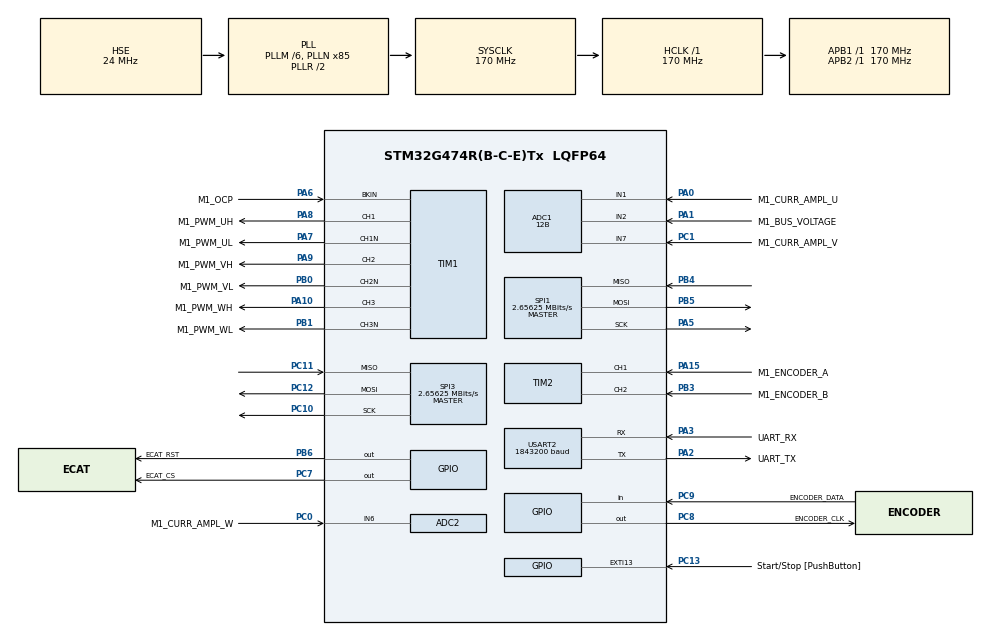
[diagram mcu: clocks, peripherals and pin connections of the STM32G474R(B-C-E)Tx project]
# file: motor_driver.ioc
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ADC1.Channel-1\#ChannelRegularConversion=ADC_CHANNEL_2
ADC1.ClockPrescaler=ADC_CLOCK_ASYNC_DIV1
ADC1.ContinuousConvMode=DISABLE
ADC1.DMAContinuousRequests=DISABLE
ADC1.DataAlign=ADC_DATAALIGN_LEFT
ADC1.DiscontinuousConvMode=DISABLE
ADC1.EOCSelection=ADC_EOC_SINGLE_CONV
ADC1.EnableAnalogWatchDog1=false
ADC1.EnableAnalogWatchDog2=false
ADC1.EnableAnalogWatchDog3=false
ADC1.EnableInjectedConversion=ENABLE
ADC1.EnableRegularConversion=ENABLE
ADC1.ExternalTrigConv=ADC_SOFTWARE_START
ADC1.ExternalTrigConvEdge=ADC_EXTERNALTRIGCONVEDGE_NONE
ADC1.ExternalTrigInjecConv=ADC_EXTERNALTRIGINJEC_T1_TRGO
ADC1.ExternalTrigInjecConvEdge=ADC_EXTERNALTRIGINJECCONV_EDGE_RISING
ADC1.InjNumberOfConversion=2
ADC1.InjectedChannel-1\#ChannelInjectedConversion=ADC_CHANNEL_1
ADC1.InjectedChannel-2\#ChannelInjectedConversion=ADC_CHANNEL_7
ADC1.InjectedConvMode=None
ADC1.InjectedOffset-1\#ChannelInjectedConversion=0
ADC1.InjectedOffset-2\#ChannelInjectedConversion=0
ADC1.InjectedOffsetNumber-1\#ChannelInjectedConversion=ADC_OFFSET_NONE
ADC1.InjectedOffsetNumber-2\#ChannelInjectedConversion=ADC_OFFSET_NONE
ADC1.InjectedRank-1\#ChannelInjectedConversion=1
ADC1.InjectedRank-2\#ChannelInjectedConversion=2
ADC1.InjectedSamplingTime-1\#ChannelInjectedConversion=ADC_SAMPLETIME_6CYCLES_5
ADC1.InjectedSamplingTime-2\#ChannelInjectedConversion=ADC_SAMPLETIME_6CYCLES_5
ADC1.LowPowerAutoWait=DISABLE
ADC1.NbrOfConversion=1
ADC1.NbrOfConversionFlag=1
ADC1.Offset-1\#ChannelRegularConversion=0
ADC1.OffsetNumber-1\#ChannelRegularConversion=ADC_OFFSET_NONE
ADC1.Overrun=ADC_OVR_DATA_PRESERVED
ADC1.Rank-1\#ChannelRegularConversion=1
ADC1.Resolution=ADC_RESOLUTION_12B
ADC1.SamplingTime-1\#ChannelRegularConversion=ADC_SAMPLETIME_47CYCLES_5
ADC1.ScanConvMode=ADC_SCAN_ENABLE
ADC1.master=1
ADC2.ClockPrescaler=ADC_CLOCK_ASYNC_DIV1
ADC2.ContinuousConvMode=DISABLE
ADC2.DMAContinuousRequests=DISABLE
ADC2.DataAlign=ADC_DATAALIGN_LEFT
ADC2.DiscontinuousConvMode=DISABLE
ADC2.EOCSelection=ADC_EOC_SINGLE_CONV
ADC2.EnableAnalogWatchDog1=false
ADC2.EnableAnalogWatchDog2=false
ADC2.EnableAnalogWatchDog3=false
ADC2.EnableInjectedConversion=ENABLE
ADC2.EnableRegularConversion=DISABLE
ADC2.ExternalTrigInjecConv=ADC_EXTERNALTRIGINJEC_T1_TRGO
ADC2.ExternalTrigInjecConvEdge=ADC_EXTERNALTRIGINJECCONV_EDGE_RISING
ADC2.InjNumberOfConversion=2
ADC2.InjectedChannel-1\#ChannelInjectedConversion=ADC_CHANNEL_7
ADC2.InjectedChannel-2\#ChannelInjectedConversion=ADC_CHANNEL_6
ADC2.InjectedConvMode=None
ADC2.InjectedOffset-1\#ChannelInjectedConversion=0
ADC2.InjectedOffset-2\#ChannelInjectedConversion=0
ADC2.InjectedOffsetNumber-1\#ChannelInjectedConversion=ADC_OFFSET_NONE
ADC2.InjectedOffsetNumber-2\#ChannelInjectedConversion=ADC_OFFSET_NONE
ADC2.InjectedRank-1\#ChannelInjectedConversion=1
ADC2.InjectedRank-2\#ChannelInjectedConversion=2
ADC2.InjectedSamplingTime-1\#ChannelInjectedConversion=ADC_SAMPLETIME_6CYCLES_5
ADC2.InjectedSamplingTime-2\#ChannelInjectedConversion=ADC_SAMPLETIME_6CYCLES_5
ADC2.LowPowerAutoWait=DISABLE
ADC2.Overrun=ADC_OVR_DATA_PRESERVED
ADC2.Resolution=ADC_RESOLUTION_12B
ADC2.ScanConvMode=ADC_SCAN_ENABLE
ADC2.master=1
Dma.Request0=USART2_RX
Dma.Request1=USART2_TX
Dma.Request2=SPI1_RX
Dma.Request3=SPI1_TX
Dma.USART2_RX.0.Direction=DMA_PERIPH_TO_MEMORY
Dma.USART2_RX.0.EventEnable=DISABLE
Dma.USART2_RX.0.Instance=DMA1_Channel1
Dma.USART2_RX.0.MemDataAlignment=DMA_MDATAALIGN_BYTE
Dma.USART2_RX.0.MemInc=DMA_MINC_ENABLE
Dma.USART2_RX.0.Mode=DMA_NORMAL
Dma.USART2_RX.0.PeriphDataAlignment=DMA_PDATAALIGN_BYTE
Dma.USART2_RX.0.PeriphInc=DMA_PINC_DISABLE
Dma.USART2_RX.0.Polarity=HAL_DMAMUX_REQ_GEN_RISING
Dma.USART2_RX.0.Priority=DMA_PRIORITY_LOW
Dma.USART2_RX.0.RequestNumber=1
Dma.USART2_RX.0.SignalID=NONE
Dma.USART2_RX.0.SyncEnable=DISABLE
Dma.USART2_RX.0.SyncPolarity=HAL_DMAMUX_SYNC_NO_EVENT
Dma.USART2_RX.0.SyncRequestNumber=1
Dma.USART2_RX.0.SyncSignalID=NONE
Dma.USART2_TX.1.Direction=DMA_MEMORY_TO_PERIPH
Dma.USART2_TX.1.EventEnable=DISABLE
Dma.USART2_TX.1.Instance=DMA1_Channel2
Dma.USART2_TX.1.MemDataAlignment=DMA_MDATAALIGN_BYTE
Dma.USART2_TX.1.MemInc=DMA_MINC_ENABLE
Dma.USART2_TX.1.Mode=DMA_NORMAL
Dma.USART2_TX.1.PeriphDataAlignment=DMA_PDATAALIGN_BYTE
Dma.USART2_TX.1.PeriphInc=DMA_PINC_DISABLE
Dma.USART2_TX.1.Polarity=HAL_DMAMUX_REQ_GEN_RISING
Dma.USART2_TX.1.Priority=DMA_PRIORITY_LOW
Dma.USART2_TX.1.RequestNumber=1
Dma.USART2_TX.1.SignalID=NONE
Dma.USART2_TX.1.SyncEnable=DISABLE
Dma.USART2_TX.1.SyncPolarity=HAL_DMAMUX_SYNC_NO_EVENT
Dma.USART2_TX.1.SyncRequestNumber=1
Dma.USART2_TX.1.SyncSignalID=NONE
Dma.SPI1_RX.2.Direction=DMA_PERIPH_TO_MEMORY
Dma.SPI1_RX.2.EventEnable=DISABLE
Dma.SPI1_RX.2.Instance=DMA1_Channel3
Dma.SPI1_RX.2.MemDataAlignment=DMA_MDATAALIGN_BYTE
Dma.SPI1_RX.2.MemInc=DMA_MINC_ENABLE
Dma.SPI1_RX.2.Mode=DMA_NORMAL
Dma.SPI1_RX.2.PeriphDataAlignment=DMA_PDATAALIGN_BYTE
Dma.SPI1_RX.2.PeriphInc=DMA_PINC_DISABLE
Dma.SPI1_RX.2.Polarity=HAL_DMAMUX_REQ_GEN_RISING
Dma.SPI1_RX.2.Priority=DMA_PRIORITY_LOW
Dma.SPI1_RX.2.RequestNumber=1
Dma.SPI1_RX.2.SignalID=NONE
Dma.SPI1_RX.2.SyncEnable=DISABLE
Dma.SPI1_RX.2.SyncPolarity=HAL_DMAMUX_SYNC_NO_EVENT
Dma.SPI1_RX.2.SyncRequestNumber=1
Dma.SPI1_RX.2.SyncSignalID=NONE
Dma.SPI1_TX.3.Direction=DMA_MEMORY_TO_PERIPH
Dma.SPI1_TX.3.EventEnable=DISABLE
Dma.SPI1_TX.3.Instance=DMA1_Channel4
Dma.SPI1_TX.3.MemDataAlignment=DMA_MDATAALIGN_BYTE
Dma.SPI1_TX.3.MemInc=DMA_MINC_ENABLE
Dma.SPI1_TX.3.Mode=DMA_NORMAL
Dma.SPI1_TX.3.PeriphDataAlignment=DMA_PDATAALIGN_BYTE
Dma.SPI1_TX.3.PeriphInc=DMA_PINC_DISABLE
Dma.SPI1_TX.3.Polarity=HAL_DMAMUX_REQ_GEN_RISING
Dma.SPI1_TX.3.Priority=DMA_PRIORITY_LOW
Dma.SPI1_TX.3.RequestNumber=1
Dma.SPI1_TX.3.SignalID=NONE
Dma.SPI1_TX.3.SyncEnable=DISABLE
Dma.SPI1_TX.3.SyncPolarity=HAL_DMAMUX_SYNC_NO_EVENT
Dma.SPI1_TX.3.SyncRequestNumber=1
Dma.SPI1_TX.3.SyncSignalID=NONE
ExtraMW=MotorControl
ExtraMW.MotorControl.Config=MotorControl
ExtraMW.MotorControl.Mode=MotorControl
ExtraMW.MotorControl.Root=MCSDK_v6.4.2-Full/MotorControl
ExtraMW.MotorControl.Template=templates
Mcu.Family=STM32G4
Mcu.Name=STM32G474R(B-C-E)Tx
Mcu.Package=LQFP64
MotorControl.ADC_1_PERIPH=ADC1
MotorControl.ADC_2_PERIPH=ADC2
MotorControl.ADC_AHBPERIPH=RCC_AHBPeriph_ADC12
MotorControl.ADC_CLOCK_WB_DIV=1
MotorControl.ADC_PERIPH=ADC1
MotorControl.ADC_REFERENCE_VOLTAGE=3.3
MotorControl.BOARD=NUCLEO-G474RE
MotorControl.BUS_VOLTAGE_READING=true
MotorControl.CCMRAM_ENABLED=false
MotorControl.CLOCK_FREQUENCY=CPU_CLK_170_MHZ
MotorControl.CLOCK_SOURCE=EXTERNAL
MotorControl.CPU_CLK_170_MHZ=true
MotorControl.CTLBOARD_NAME=NUCLEO-G474RE
MotorControl.CUBE_MX_VER=6.16.0
MotorControl.CURRENT_READING_TOPOLOGY=THREE_SHUNT_INDEPENDENT_RESOURCES
MotorControl.CURR_SAMPLING_TIME=6
MotorControl.DBG_MCU_LOAD_MEASURE=false
MotorControl.DEBUG_DAC_FUNCTIONALITY_EN=false
MotorControl.DRIVES_NUMBER_SELECTION=SINGLEDRIVE
MotorControl.DRIVE_NUMBER=1
MotorControl.DRIVE_TYPE=FOC
MotorControl.EMERGENCY_STOP_GPIO_PIN=LL_GPIO_PIN_6
MotorControl.EMERGENCY_STOP_GPIO_PORT=GPIOA
MotorControl.ENCODER=true
MotorControl.ENCODER_AVAILABLE=true
MotorControl.ENCODER_PPR=1024
MotorControl.ENC_A_GPIO_PIN=LL_GPIO_PIN_15
MotorControl.ENC_A_GPIO_PORT=GPIOA
MotorControl.ENC_B_GPIO_PIN=LL_GPIO_PIN_3
MotorControl.ENC_B_GPIO_PORT=GPIOB
MotorControl.ENC_ICx_FILTER=128
MotorControl.ENC_INVERT_SPEED=false
MotorControl.ENC_TIMER_SELECTION=ENC_TIM2
MotorControl.ENC_USE_CH3=false
MotorControl.EXT_CLK_24_MHZ=true
MotorControl.EXT_CLOCK_FREQUENCY=EXT_CLK_24_MHZ
MotorControl.FEEDBACK_NET_FILTERING=false
MotorControl.FLASH_SIZE=512
MotorControl.HALL_SENSORS_AVAILABLE=true
MotorControl.HIGH_SIDE_IDLE_STATE=false
MotorControl.HWV_CS=ThreeShunt_AmplifiedCurrents
MotorControl.HWV_OCP=OnPowerStageOCP
MotorControl.HWV_PWM=DrivingHighAndLowSides
MotorControl.HW_COMPLEMENTED_LOW_SIDE=false
MotorControl.HW_DEAD_TIME_NS=1000
MotorControl.IPs=CORDIC,NVIC,RCC,SYS,MotorControl,TIM1,ADC1,ADC2,TIM2,USART2,DMA
MotorControl.LOW_MEMORY_FOOTPRINT_REG=false
MotorControl.LOW_SIDE_IDLE_STATE=false
MotorControl.LOW_SIDE_SIGNALS_ENABLING=LS_PWM_TIMER
MotorControl.M1_ALIGNMENT_ANGLE_DEG=90
MotorControl.M1_ALIGNMENT_DURATION=700
MotorControl.M1_AMPLIFICATION_GAIN=5.18
MotorControl.M1_ANGC={0,0,0,0,0,0,0,0}
MotorControl.M1_AUXILIARY_SPEED_SENSOR=NONE
MotorControl.M1_BOARD_MAX_CURRENT=4
MotorControl.M1_BUS_VOLTAGE_READING=true
MotorControl.M1_COMMUTATION_STEP_TIME_BUF_SIZE=12
MotorControl.M1_CONSTANT1_D=932784
MotorControl.M1_CONSTANT1_Q=932784
MotorControl.M1_CONSTANT2_QD=19475
MotorControl.M1_CS_ADC_NUM=2
MotorControl.M1_CS_ADC_PHASE_SHARED=V
MotorControl.M1_CS_ADC_U=ADC1
MotorControl.M1_CS_ADC_W=ADC2
MotorControl.M1_CS_CHANNEL_SHARED=7
MotorControl.M1_CS_CHANNEL_U=1
MotorControl.M1_CS_CHANNEL_V=7
MotorControl.M1_CS_CHANNEL_W=6
MotorControl.M1_CURRENT_AMPLIFICATION_TOPO=EXTERNAL
MotorControl.M1_CURRENT_SENSING_TOPO=THREE_SHUNT
MotorControl.M1_CURR_SAMPLING_TIME=6
MotorControl.M1_DBG_OPEN_LOOP_ENABLE=false
MotorControl.M1_DC_CURRENT_RS_MEAS=4
MotorControl.M1_DEFAULT_CONTROL_MODE=STC_SPEED_MODE
MotorControl.M1_DEFAULT_FLUX_COMPONENT=0
MotorControl.M1_DEFAULT_TARGET_SPEED_RPM=1440
MotorControl.M1_DEFAULT_TORQUE_COMPONENT=0
MotorControl.M1_DISCONTINUOUS_PWM=false
MotorControl.M1_DP_TOPOLOGY=NONE
MotorControl.M1_DRIVE_TYPE=FOC
MotorControl.M1_ENCODER_PPR=1024
MotorControl.M1_ENC_AVERAGING_FIFO_DEPTH=16
MotorControl.M1_ENC_A_GPIO_PIN=LL_GPIO_PIN_15
MotorControl.M1_ENC_A_GPIO_PORT=GPIOA
MotorControl.M1_ENC_B_GPIO_PIN=LL_GPIO_PIN_3
MotorControl.M1_ENC_B_GPIO_PORT=GPIOB
MotorControl.M1_ENC_ICx_FILTER=128
MotorControl.M1_ENC_TIMER_IRQ=TIM2
MotorControl.M1_ENC_TIMER_SELECTION=ENC_TIM2
MotorControl.M1_ENC_USE_CH3=false
MotorControl.M1_FEED_FORWARD_CURRENT_REG_ENABLING=false
MotorControl.M1_FINAL_I_ALIGNMENT=4
MotorControl.M1_FLUX_WEAKENING_ENABLING=false
MotorControl.M1_FW_KIDIV=32768
MotorControl.M1_FW_KI_GAIN=5000
MotorControl.M1_FW_KPDIV=32768
MotorControl.M1_FW_KP_GAIN=3000
MotorControl.M1_FW_VOLTAGE_REF=985
MotorControl.M1_HALL_PHASE_SHIFT=300
MotorControl.M1_HALL_SENSORS_PLACEMENT=DEGREES_120
MotorControl.M1_HIGH_SIDE_IDLE_STATE=false
MotorControl.M1_HW_DEAD_TIME_NS=1000
MotorControl.M1_ICL_ENABLED=false
MotorControl.M1_ID_DEMAG=-4
MotorControl.M1_IQMAX=4
MotorControl.M1_LDLQ_RATIO=1.000
MotorControl.M1_LOW_SIDE_IDLE_STATE=false
MotorControl.M1_LOW_SIDE_SIGNALS_ENABLING=LS_PWM_TIMER
MotorControl.M1_LS=0.0009
MotorControl.M1_MAX_APPLICATION_SPEED=4500
MotorControl.M1_MAX_MODULATION_INDEX=100
MotorControl.M1_MIN_APPLICATION_SPEED=0
MotorControl.M1_MOTOR_MAX_SPEED_RPM=4500
MotorControl.M1_MOTOR_NAME=MAXON EC-I 100W
MotorControl.M1_MOTOR_RATED_FLUX=0.030079734
MotorControl.M1_MOTOR_VOLTAGE_CONSTANT=6.1
MotorControl.M1_MTPA_ENABLING=false
MotorControl.M1_NOMINAL_BUS_VOLTAGE_V=24
MotorControl.M1_NOMINAL_CURRENT=4
MotorControl.M1_OCP_BKIN_FILTER=4
MotorControl.M1_OCP_BKIN_MODE=EXT_MODE
MotorControl.M1_OCP_BKIN_POLARITY=EMSTOP_ACTIVE_LOW
MotorControl.M1_OCP_DESTINATION=TIM_BKIN
MotorControl.M1_OCP_TOPOLOGY=EXTERNAL
MotorControl.M1_OFST={0,0,0,0,0,0,0,0}
MotorControl.M1_ON_OVER_VOLTAGE=TURN_OFF_PWM
MotorControl.M1_OVERMODULATION=false
MotorControl.M1_OVP_THRESHOLD_HIGH=28.8
MotorControl.M1_OV_VOLTAGE_PROT_ENABLING=true
MotorControl.M1_OV_VOLTAGE_THRESHOLD_V=28.8
MotorControl.M1_PID_FLUX_KD_DEFAULT=100
MotorControl.M1_PID_FLUX_KI_DEFAULT=3065
MotorControl.M1_PID_FLUX_KP_DEFAULT=3669
MotorControl.M1_PID_SPEED_KD_DEFAULT=0
MotorControl.M1_PID_SPEED_KI_DEFAULT=867
MotorControl.M1_PID_SPEED_KP_DEFAULT=2420
MotorControl.M1_PID_TORQUE_KD_DEFAULT=100
MotorControl.M1_PID_TORQUE_KI_DEFAULT=3065
MotorControl.M1_PID_TORQUE_KP_DEFAULT=3669
MotorControl.M1_POLE_PAIR_NUM=10
MotorControl.M1_POSITION_CTRL_ENABLING=false
MotorControl.M1_POTENTIOMETER_ENABLE=false
MotorControl.M1_POWERBOARD_NAME=X-NUCLEO-IHM08M1
MotorControl.M1_PWM_CHARGE_BOOT_CAP_DUTY_CYCLES=0.000
MotorControl.M1_PWM_CHARGE_BOOT_CAP_MS=10
MotorControl.M1_PWM_DRIVER_PN=L6398
MotorControl.M1_PWM_FREQUENCY=20000
MotorControl.M1_PWM_TIMER_BRK_IRQ=TIM1_BRK_TIM15
MotorControl.M1_PWM_TIMER_SELECTION=PWM_TIM1
MotorControl.M1_PWM_TIMER_UP_IRQ=TIM1_UP_TIM16
MotorControl.M1_REGULATION_EXECUTION_RATE=1
MotorControl.M1_RS=0.47
MotorControl.M1_RSHUNT=0.01
MotorControl.M1_SEGDIV=0
MotorControl.M1_SHARED_SIGNAL_ENABLE=false
MotorControl.M1_SPD_DIFFERENTIAL_TERM_ENABLING=false
MotorControl.M1_SPEED_LOOP_FREQUENCY_HZ=1000
MotorControl.M1_SPEED_SENSOR=QUAD_ENCODER
MotorControl.M1_SP_KDDIV=16
MotorControl.M1_SP_KIDIV=16384
MotorControl.M1_SP_KPDIV=128
MotorControl.M1_SS_MEAS_ERRORS_BEFORE_FAULTS=3
MotorControl.M1_SW_DEADTIME_NS=850
MotorControl.M1_TEMPERATURE_READING=false
MotorControl.M1_TF_KDDIV=8192
MotorControl.M1_TF_KIDIV=8192
MotorControl.M1_TF_KPDIV=256
MotorControl.M1_TNOISE_NS=1000
MotorControl.M1_TRISE_NS=1000
MotorControl.M1_UD_VOLTAGE_THRESHOLD_V=10.0
MotorControl.M1_USE_INTERNAL_OPAMP=false
MotorControl.M1_UV_VOLTAGE_PROT_ENABLING=true
MotorControl.M1_VBUS_ADC=ADC1
MotorControl.M1_VBUS_ADC_SAMPLING_TIME=47
MotorControl.M1_VBUS_CHANNEL=ADC_CHANNEL_2
MotorControl.M1_VBUS_PARTITIONING_FACTOR=0.052164840897235255
MotorControl.MAX_READABLE_CURRENT=31.845
MotorControl.MCPA_OVER_UART_A_STREAM=10
MotorControl.MCP_ASPEP_OVER_UART=true
MotorControl.MCP_ASYNC_EN=true
MotorControl.MCP_ASYNC_OVER_ASPEP_EN=true
MotorControl.MCP_ASYNC_OVER_UART_A_EN=true
MotorControl.MCP_DMACH_RX_UART_A=1
MotorControl.MCP_DMACH_TX_UART_A=2
MotorControl.MCP_DMA_RX_UART_A=DMA1
MotorControl.MCP_DMA_TX_UART_A=DMA1
MotorControl.MCP_EN=true
MotorControl.MCP_IRQ_HANDLER_DMA_RX_UART_A=DMA1_Channel1_IRQHandler
MotorControl.MCP_IRQ_HANDLER_UART_A=USART2_IRQHandler
MotorControl.MCP_OVER_ASPEP_EN=true
MotorControl.MCP_OVER_STLNK_EN=false
MotorControl.MCP_OVER_UART_A_EN=true
MotorControl.MCP_OVER_UART_B_EN=false
MotorControl.MCP_RX_SYNC_PAYLOAD_MAX=256
MotorControl.MCP_TX_ASYNC_PAYLOAD_MAX_UART_A=2048
MotorControl.MCP_TX_SYNC_PAYLOAD_MAX=256
MotorControl.MCU=STM32G474RE
MotorControl.MCU_FAMILY=STM32G4
MotorControl.MCU_LINE=STM32G4x4
MotorControl.MCU_NAME=STM32G474R(B-C-E)Tx
MotorControl.MCU_PACKAGE=LQFP64
MotorControl.MCU_TYPE=STM32G474RE
MotorControl.MCU_USERNAME=STM32G474RETx
MotorControl.MC_WORKBENCH_VERSION=6.4.2
MotorControl.MOTOR_PROFILER=false
MotorControl.MOTOR_TYPE=PMSM
MotorControl.ON_OVER_VOLTAGE=TURN_OFF_PWM
MotorControl.OV_VOLTAGE_PROT_ENABLING=true
MotorControl.PHASE_UH_GPIO_PIN=LL_GPIO_PIN_8
MotorControl.PHASE_UH_GPIO_PORT=GPIOA
MotorControl.PHASE_UH_POLARITY=H_ACTIVE_HIGH
MotorControl.PHASE_UL_GPIO_PIN=LL_GPIO_PIN_7
MotorControl.PHASE_UL_GPIO_PORT=GPIOA
MotorControl.PHASE_UL_POLARITY=L_ACTIVE_LOW
MotorControl.PHASE_U_CURR_ADC=ADC1
MotorControl.PHASE_U_CURR_CHANNEL=ADC_CHANNEL_1
MotorControl.PHASE_U_GPIO_PIN=LL_GPIO_PIN_0
MotorControl.PHASE_U_GPIO_PORT=GPIOA
MotorControl.PHASE_U_PWM_CHANNEL=TIM_Channel_1
MotorControl.PHASE_VH_GPIO_PIN=LL_GPIO_PIN_9
MotorControl.PHASE_VH_GPIO_PORT=GPIOA
MotorControl.PHASE_VH_POLARITY=H_ACTIVE_HIGH
MotorControl.PHASE_VL_GPIO_PIN=LL_GPIO_PIN_0
MotorControl.PHASE_VL_GPIO_PORT=GPIOB
MotorControl.PHASE_VL_POLARITY=L_ACTIVE_LOW
MotorControl.PHASE_V_CURR_ADC=ADC1
MotorControl.PHASE_V_CURR_CHANNEL=ADC_CHANNEL_7
MotorControl.PHASE_V_GPIO_PIN=LL_GPIO_PIN_1
MotorControl.PHASE_V_GPIO_PORT=GPIOC
MotorControl.PHASE_V_PWM_CHANNEL=TIM_Channel_2
MotorControl.PHASE_V_S_CURR_ADC=ADC2
MotorControl.PHASE_V_S_CURR_CHANNEL=ADC_CHANNEL_7
MotorControl.PHASE_V_S_GPIO_PIN=LL_GPIO_PIN_1
MotorControl.PHASE_V_S_GPIO_PORT=GPIOC
MotorControl.PHASE_WH_GPIO_PIN=LL_GPIO_PIN_10
MotorControl.PHASE_WH_GPIO_PORT=GPIOA
MotorControl.PHASE_WH_POLARITY=H_ACTIVE_HIGH
MotorControl.PHASE_WL_GPIO_PIN=LL_GPIO_PIN_1
MotorControl.PHASE_WL_GPIO_PORT=GPIOB
MotorControl.PHASE_WL_POLARITY=L_ACTIVE_LOW
MotorControl.PHASE_W_CURR_ADC=ADC2
MotorControl.PHASE_W_CURR_CHANNEL=ADC_CHANNEL_6
MotorControl.PHASE_W_GPIO_PIN=LL_GPIO_PIN_0
MotorControl.PHASE_W_GPIO_PORT=GPIOC
MotorControl.PHASE_W_PWM_CHANNEL=TIM_Channel_3
MotorControl.POTENTIOMETER_READING=false
MotorControl.PWM_FREQUENCY=20000
MotorControl.PWM_TIMER_SELECTION=PWM_TIM1
MotorControl.REGULATION_EXECUTION_RATE=1
MotorControl.RTOS=NONE
MotorControl.R_BRAKE_SWITCH_OFF_THRES_V=23
MotorControl.SINGLEDRIVE=true
MotorControl.SPD_DIFFERENTIAL_TERM_ENABLING=false
MotorControl.SPEED_SENSOR_SELECTION=ENCODER
MotorControl.START_STOP_BTN=true
MotorControl.START_STOP_GPIO_IRQ=EXTI15_10
MotorControl.START_STOP_GPIO_PIN=LL_GPIO_PIN_13
MotorControl.START_STOP_GPIO_PORT=GPIOC
MotorControl.START_STOP_POLARITY=DIN_ACTIVE_LOW
MotorControl.START_STOP_POLARITY_EDGE=GPIO_NOPULL
MotorControl.STM32G474RE=true
MotorControl.SW_DEADTIME_NS=850
MotorControl.TEMPERATURE_READING=false
MotorControl.TFDIFFERENTIAL_TERM_ENABLING=false
MotorControl.THREE_SHUNT_INDEPENDENT_RESOURCES=true
MotorControl.TRISE_NS=1000
MotorControl.USART_RX_GPIO_PIN=LL_GPIO_PIN_3
MotorControl.USART_RX_GPIO_PORT=GPIOA
MotorControl.USART_SELECTION=USE_USART2
MotorControl.USART_SELECTION_A=USART2
MotorControl.USART_SPEED=1843200
MotorControl.USART_TX_GPIO_PIN=LL_GPIO_PIN_2
MotorControl.USART_TX_GPIO_PORT=GPIOA
MotorControl.USE_3OPAMPS=false
MotorControl.USE_INTERNAL_OPAMP=false
MotorControl.UV_VOLTAGE_PROT_ENABLING=true
MotorControl.VBUS_ADC=ADC1
MotorControl.VBUS_ADC_SAMPLING_TIME=47
MotorControl.VBUS_CHANNEL=ADC_CHANNEL_2
MotorControl.VBUS_GPIO_PIN=LL_GPIO_PIN_1
MotorControl.VBUS_GPIO_PORT=GPIOA
MotorControl.WB_MX_HEAPSIZE=0x200
MotorControl.WB_MX_STACKSIZE=0x400
MotorControl.WB_MX_TRUSTZONE_AVAILABLE=false
MotorControl.WB_UI_CUTOFF_FREQUENCY=6000
MotorControl.WB_UI_ENCODER_HAS_INDEX_PIN=true
MotorControl.WB_UI_FLUX_TARGET=0
MotorControl.WB_UI_FRICTION=14
MotorControl.WB_UI_INERTIA=5
MotorControl.WB_UI_MAGNETIC_STRUCTURE=SM-PMSM
MotorControl.WB_UI_MAX_CURRENT=4
MotorControl.WB_UI_MAX_NOMINAL_DC_VOLTAGE=48
MotorControl.WB_UI_MAX_PWMFREQUENCY=100000
MotorControl.WB_UI_MOTOR_DESCRIPTION=brushless DC motor with encoder and Z Index
MotorControl.WB_UI_OCP_DISABLING_ENABLE=false
MotorControl.WB_UI_OCP_THRESHOLD=30
MotorControl.WB_UI_PW_BOARD_MAX_RATED_CURRENT=30
MotorControl.WB_UI_PW_BOARD_MAX_VOLTAGE=48
MotorControl.WB_UI_PW_BOARD_MIN_VOLTAGE=10
MotorControl.WB_UI_VPOL=1.71
MotorControl.WB_to_Mx_template_version=25-05-06
MotorControl.WB_to_Mx_version=6.4.2
NVIC.ADC1_2_IRQn=true\:0\:0\:true\:true\:false\:5\:true\:true\:true
NVIC.DMA1_Channel1_IRQn=true\:3\:0\:true\:true\:false\:2\:true\:true\:true
NVIC.DMA1_Channel3_IRQn=true\:3\:0\:true\:true\:false\:8\:true\:true\:true
NVIC.DMA1_Channel4_IRQn=true\:3\:0\:true\:true\:false\:9\:true\:true\:true
NVIC.EXTI15_10_IRQn=true\:3\:0\:false\:true\:false\:7\:true\:true\:true
NVIC.PriorityGroup=NVIC_PRIORITYGROUP_3
NVIC.TIM1_BRK_TIM15_IRQn=true\:4\:1\:true\:true\:false\:3\:true\:true\:true
NVIC.TIM1_UP_TIM16_IRQn=true\:2\:0\:false\:true\:false\:4\:true\:true\:true
NVIC.USART2_IRQn=true\:3\:1\:true\:true\:false\:1\:true\:true\:true
PA0.GPIO_Label=M1_CURR_AMPL_U
PA0.Mode=IN1-Single-Ended
PA0.Signal=ADC1_IN1
PA1.GPIO_Label=M1_BUS_VOLTAGE
PA1.Mode=IN2-Single-Ended
PA1.Signal=ADC1_IN2
PA10.GPIO_Label=M1_PWM_WH
PA10.GPIO_PuPd=GPIO_PULLDOWN
PA10.GPIO_Speed=GPIO_SPEED_FREQ_HIGH
PA10.Signal=S_TIM1_CH3
PA15.GPIO_Label=M1_ENCODER_A
PA15.Signal=S_TIM2_CH1
PA2.GPIO_Label=UART_TX
PA2.GPIO_Mode=GPIO_MODE_AF_PP
PA2.GPIO_PuPd=GPIO_NOPULL
PA2.GPIO_Speed=GPIO_SPEED_FREQ_LOW
PA2.Mode=Asynchronous
PA2.Signal=USART2_TX
PA3.GPIO_Label=UART_RX
PA3.GPIO_Mode=GPIO_MODE_AF_PP
PA3.GPIO_PuPd=GPIO_NOPULL
PA3.GPIO_Speed=GPIO_SPEED_FREQ_LOW
PA3.Mode=Asynchronous
PA3.Signal=USART2_RX
PA5.GPIO_Speed=GPIO_SPEED_FREQ_HIGH
PA5.Mode=Full_Duplex_Master
PA5.Signal=SPI1_SCK
PA6.GPIO_Label=M1_OCP
PA6.GPIO_PuPd=GPIO_PULLUP
PA6.Mode=Activate-Break-Input
PA6.Signal=TIM1_BKIN
PA7.GPIO_Label=M1_PWM_UL
PA7.GPIO_PuPd=GPIO_PULLUP
PA7.GPIO_Speed=GPIO_SPEED_FREQ_HIGH
PA7.Mode=PWM Generation1 CH1 CH1N
PA7.Signal=TIM1_CH1N
PA8.GPIO_Label=M1_PWM_UH
PA8.GPIO_PuPd=GPIO_PULLDOWN
PA8.GPIO_Speed=GPIO_SPEED_FREQ_HIGH
PA8.Signal=S_TIM1_CH1
PA9.GPIO_Label=M1_PWM_VH
PA9.GPIO_PuPd=GPIO_PULLDOWN
PA9.GPIO_Speed=GPIO_SPEED_FREQ_HIGH
PA9.Signal=S_TIM1_CH2
PB0.GPIO_Label=M1_PWM_VL
PB0.GPIO_PuPd=GPIO_PULLUP
PB0.GPIO_Speed=GPIO_SPEED_FREQ_HIGH
PB0.Mode=PWM Generation2 CH2 CH2N
PB0.Signal=TIM1_CH2N
PB1.GPIO_Label=M1_PWM_WL
PB1.GPIO_PuPd=GPIO_PULLUP
PB1.GPIO_Speed=GPIO_SPEED_FREQ_HIGH
PB1.Mode=PWM Generation3 CH3 CH3N
PB1.Signal=TIM1_CH3N
PB3.GPIO_Label=M1_ENCODER_B
PB3.Signal=S_TIM2_CH2
PB4.GPIO_Speed=GPIO_SPEED_FREQ_HIGH
PB4.Mode=Full_Duplex_Master
PB4.Signal=SPI1_MISO
PB5.GPIO_Speed=GPIO_SPEED_FREQ_HIGH
PB5.Mode=Full_Duplex_Master
PB5.Signal=SPI1_MOSI
PB6.GPIO_Label=ECAT_RST
PB6.GPIO_Speed=GPIO_SPEED_FREQ_VERY_HIGH
PB6.Signal=GPIO_Output
PC0.GPIO_Label=M1_CURR_AMPL_W
PC0.Mode=IN6-Single-Ended
PC0.Signal=ADC2_IN6
PC1.GPIO_Label=M1_CURR_AMPL_V
PC1.Signal=SharedAnalog_PC1
PC10.Mode=Full_Duplex_Master
PC10.Signal=SPI3_SCK
PC11.Mode=Full_Duplex_Master
PC11.Signal=SPI3_MISO
PC12.Mode=Full_Duplex_Master
PC12.Signal=SPI3_MOSI
PC13.GPIO_Label=Start/Stop [PushButton]
PC13.GPIO_ModeDefaultEXTI=GPIO_MODE_IT_FALLING
PC13.GPIO_PuPd=GPIO_NOPULL
PC13.Signal=GPXTI13
PC7.GPIO_Label=ECAT_CS
PC7.GPIO_PuPd=GPIO_PULLUP
PC7.GPIO_Speed=GPIO_SPEED_FREQ_VERY_HIGH
PC7.Signal=GPIO_Output
PC8.GPIO_Label=ENCODER_CLK
PC8.GPIO_Speed=GPIO_SPEED_FREQ_VERY_HIGH
PC8.PinState=GPIO_PIN_RESET
PC8.Signal=GPIO_Output
PC9.GPIO_Label=ENCODER_DATA
PC9.Signal=GPIO_Input
PF0-OSC_IN.Mode=HSE-External-Oscillator
PF0-OSC_IN.Signal=RCC_OSC_IN
PF1-OSC_OUT.Mode=HSE-External-Oscillator
PF1-OSC_OUT.Signal=RCC_OSC_OUT
ProjectManager.HeapSize=0x200
ProjectManager.StackSize=0x400
ProjectManager.TargetToolchain=CMake
RCC.ADC12CLockSelection=RCC_ADC12CLKSOURCE_PLL
RCC.ADC12Freq_Value=42500000
RCC.ADC345CLockSelection=RCC_ADC345CLKSOURCE_PLL
RCC.ADC345Freq_Value=42500000
RCC.AHBFreq_Value=170000000
RCC.APB1Freq_Value=170000000
RCC.APB1TimFreq_Value=170000000
RCC.APB2Freq_Value=170000000
RCC.APB2TimFreq_Value=170000000
RCC.CK48CLockSelection=RCC_USBCLKSOURCE_PLL
RCC.CortexFreq_Value=170000000
RCC.EXTERNAL_CLOCK_VALUE=12288000
RCC.EnbaleCSS=true
RCC.HCLKFreq_Value=170000000
RCC.HSE_VALUE=24000000
RCC.HSI48_VALUE=48000000
RCC.HSI_VALUE=16000000
RCC.LSE_VALUE=32768
RCC.PLLM=RCC_PLLM_DIV6
RCC.PLLN=85
RCC.PLLP=RCC_PLLP_DIV8
RCC.PLLSourceVirtual=RCC_PLLSOURCE_HSE
RCC.PREFETCH_ENABLE=1
RCC.SYSCLKFreq_VALUE=170000000
RCC.SYSCLKSource=RCC_SYSCLKSOURCE_PLLCLK
RCC.USBFreq_Value=170000000
RCC.VCOOutputFreq_Value=340000000
SH.S_TIM1_CH1.0=TIM1_CH1,PWM Generation1 CH1 CH1N
SH.S_TIM1_CH2.0=TIM1_CH2,PWM Generation2 CH2 CH2N
SH.S_TIM1_CH3.0=TIM1_CH3,PWM Generation3 CH3 CH3N
SH.S_TIM2_CH1.0=TIM2_CH1,Encoder_Interface
SH.S_TIM2_CH2.0=TIM2_CH2,Encoder_Interface
SH.SharedAnalog_PC1.0=ADC1_IN7,IN7-Single-Ended
SH.SharedAnalog_PC1.1=ADC2_IN7,IN7-Single-Ended
SPI1.BaudRatePrescaler=SPI_BAUDRATEPRESCALER_64
SPI1.CalculateBaudRate=2.65625 MBits/s
SPI1.DataSize=SPI_DATASIZE_8BIT
SPI1.Direction=SPI_DIRECTION_2LINES
SPI1.Mode=SPI_MODE_MASTER
SPI1.NSSPMode=SPI_NSS_PULSE_DISABLE
SPI1.VirtualType=VM_MASTER
SPI3.BaudRatePrescaler=SPI_BAUDRATEPRESCALER_64
SPI3.CalculateBaudRate=2.65625 MBits/s
SPI3.DataSize=SPI_DATASIZE_8BIT
SPI3.Direction=SPI_DIRECTION_2LINES
SPI3.Mode=SPI_MODE_MASTER
SPI3.NSSPMode=SPI_NSS_PULSE_DISABLE
SPI3.VirtualType=VM_MASTER
TIM1.AutoReloadPreload=TIM_AUTORELOAD_PRELOAD_DISABLE
TIM1.AutomaticOutput=TIM_AUTOMATICOUTPUT_DISABLE
TIM1.Break2Filter=3
TIM1.Break2Polarity=TIM_BREAK2POLARITY_HIGH
TIM1.Break2State=TIM_BREAK2_DISABLE
TIM1.BreakFilter=4
TIM1.BreakPolarity=TIM_BREAKPOLARITY_HIGH
TIM1.BreakState=TIM_BREAK_ENABLE
TIM1.Channel-PWM\ Generation1\ CH1\ CH1N=TIM_CHANNEL_1
TIM1.Channel-PWM\ Generation2\ CH2\ CH2N=TIM_CHANNEL_2
TIM1.Channel-PWM\ Generation3\ CH3\ CH3N=TIM_CHANNEL_3
TIM1.Channel-PWM\ Generation4\ No\ Output=TIM_CHANNEL_4
TIM1.ClearInputSource=TIM_CLEARINPUTSOURCE_NONE
TIM1.ClockDivision=TIM_CLOCKDIVISION_DIV2
TIM1.CounterMode=TIM_COUNTERMODE_CENTERALIGNED1
TIM1.DeadTime=((DEAD_TIME_COUNTS) / 2)
TIM1.LockLevel=TIM_LOCKLEVEL_OFF
TIM1.OC1Preload_PWM=ENABLE
TIM1.OC2Preload_PWM=ENABLE
TIM1.OC3Preload_PWM=ENABLE
TIM1.OC4Preload_PWM=ENABLE
TIM1.OCIdleState_1=TIM_OCIDLESTATE_RESET
TIM1.OCIdleState_2=TIM_OCIDLESTATE_RESET
TIM1.OCIdleState_3=TIM_OCIDLESTATE_RESET
TIM1.OCIdleState_4=TIM_OCIDLESTATE_RESET
TIM1.OCMode_PWM-PWM\ Generation1\ CH1\ CH1N=TIM_OCMODE_PWM1
TIM1.OCMode_PWM-PWM\ Generation2\ CH2\ CH2N=TIM_OCMODE_PWM1
TIM1.OCMode_PWM-PWM\ Generation3\ CH3\ CH3N=TIM_OCMODE_PWM1
TIM1.OCMode_PWM-PWM\ Generation4\ No\ Output=TIM_OCMODE_PWM2
TIM1.OCNIdleState_1=TIM_OCNIDLESTATE_SET
TIM1.OCNIdleState_2=TIM_OCNIDLESTATE_SET
TIM1.OCNIdleState_3=TIM_OCNIDLESTATE_SET
TIM1.OCNPolarity_1=TIM_OCNPOLARITY_LOW
TIM1.OCNPolarity_2=TIM_OCNPOLARITY_LOW
TIM1.OCNPolarity_3=TIM_OCNPOLARITY_LOW
TIM1.OCPolarity_1=TIM_OCPOLARITY_HIGH
TIM1.OCPolarity_2=TIM_OCPOLARITY_HIGH
TIM1.OCPolarity_3=TIM_OCPOLARITY_HIGH
TIM1.OCPolarity_4=TIM_OCPOLARITY_HIGH
TIM1.OffStateIDLEMode=TIM_OSSI_ENABLE
TIM1.OffStateRunMode=TIM_OSSR_ENABLE
TIM1.PeriodNoDither=((PWM_PERIOD_CYCLES) / 2)
TIM1.Prescaler=((TIM_CLOCK_DIVIDER) - 1)
TIM1.PulseNoDither_1=((PWM_PERIOD_CYCLES) / 4)
TIM1.PulseNoDither_2=((PWM_PERIOD_CYCLES) / 4)
TIM1.PulseNoDither_3=((PWM_PERIOD_CYCLES) / 4)
TIM1.PulseNoDither_4=(((PWM_PERIOD_CYCLES) / 2) - (HTMIN))
TIM1.RepetitionCounter=(REP_COUNTER)
TIM1.SourceBRK2DigInput=TIM_BREAKINPUTSOURCE_DISABLE
TIM1.SourceBRKDigInput=TIM_BREAKINPUTSOURCE_ENABLE
TIM1.SourceBRKDigInputPolarity=TIM_BREAKINPUTSOURCE_POLARITY_LOW
TIM1.TIM_MasterOutputTrigger=TIM_TRGO_OC4REF
TIM1.TIM_MasterOutputTrigger2=TIM_TRGO2_RESET
TIM1.TIM_MasterSlaveMode=TIM_MASTERSLAVEMODE_DISABLE
USART2.BaudRate=1843200
USART2.VirtualMode-Asynchronous=VM_ASYNC
USART2.WordLength=WORDLENGTH_8B
VP_CORDIC_VS_CORDIC.Mode=CORDIC_Activate
VP_MotorControl_MC_ENABLED.Mode=Enabled
VP_SYS_VS_DBSignals.Mode=DisableDeadBatterySignals
VP_TIM1_VS_no_output4.Mode=PWM Generation4 No Output
board=custom

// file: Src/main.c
/* USER CODE BEGIN Header */
/**
  ******************************************************************************
  * @file           : main.c
  * @brief          : Main program body
  ******************************************************************************
  * @attention
  *
  * Copyright (c) 2026 STMicroelectronics.
  * All rights reserved.
  *
  * This software is licensed under terms that can be found in the LICENSE file
  * in the root directory of this software component.
  * If no LICENSE file comes with this software, it is provided AS-IS.
  *
  ******************************************************************************
  */
/* USER CODE END Header */
#include "main.h"

/* USER CODE BEGIN Includes */
#include "encoder/biss_encoder.h"
#include "ecat_slv.h"
#include "ethercat/cia402/cia402.h"
#include "ethercat/lan9252_app.h"
#include "ethercat/soes_lan9252_port.h"
#include "ethercat/utypes.h"
/* USER CODE END Includes */

ADC_HandleTypeDef hadc1;
ADC_HandleTypeDef hadc2;

CORDIC_HandleTypeDef hcordic;

SPI_HandleTypeDef hspi1;
SPI_HandleTypeDef hspi3;

TIM_HandleTypeDef htim1;
TIM_HandleTypeDef htim2;

UART_HandleTypeDef huart2;
DMA_HandleTypeDef hdma_usart2_rx;
DMA_HandleTypeDef hdma_usart2_tx;
DMA_HandleTypeDef hdma_spi1_rx;
DMA_HandleTypeDef hdma_spi1_tx;

/* USER CODE BEGIN PV */

_Objects Obj;

static esc_cfg_t soes_cfg;

/* USER CODE END PV */

void SystemClock_Config(void);
static void MX_GPIO_Init(void);
static void MX_DMA_Init(void);
static void MX_ADC1_Init(void);
static void MX_ADC2_Init(void);
static void MX_CORDIC_Init(void);
static void MX_TIM1_Init(void);
static void MX_TIM2_Init(void);
static void MX_USART2_UART_Init(void);
static void MX_SPI3_Init(void);
static void MX_SPI1_Init(void);
static void MX_NVIC_Init(void);

int main(void)
{

  /* MCU Configuration--------------------------------------------------------*/

  /* Reset of all peripherals, Initializes the Flash interface and the Systick. */
  HAL_Init();

  /* Configure the system clock */
  SystemClock_Config();

  /* Initialize all configured peripherals */
  MX_GPIO_Init();
  MX_DMA_Init();
  MX_ADC1_Init();
  MX_ADC2_Init();
  MX_CORDIC_Init();
  MX_TIM1_Init();
  MX_TIM2_Init();
  MX_USART2_UART_Init();
  MX_MotorControl_Init();
  MX_SPI3_Init();
  MX_SPI1_Init();

  /* USER CODE BEGIN 2 */

  LAN9252_SPI_Init();
  soes_cfg.user_arg = (void *)SOES_LAN9252_GetHwIf();
  soes_cfg.use_interrupt = 0;
  soes_cfg.watchdog_cnt = 150;

  Obj.Parameters.McuLed = 0U;
  Obj.Parameters.ControlWord = 0U;
  Obj.Parameters.OperationMode = 0;
  CIA402_Init(&Obj.Parameters.StatusWord, &Obj.Parameters.OperationModeDisplay);

  ecat_slv_init(&soes_cfg);

  /* Initialize interrupts */
  MX_NVIC_Init();
  /* USER CODE END 2 */

  /* Kick off the first DMA read before entering the loop */
  BISS_StartDmaRead(&hspi1);

  /* Infinite loop */
  /* USER CODE BEGIN WHILE */

  while (1)
  {
    ecat_slv();

    /* g_biss_position is updated automatically by the DMA completion ISR.
     * DMA auto-restarts after each 6-byte transfer - no polling needed. */

    HAL_Delay(2);
    /* USER CODE END WHILE */

  }
}

void SystemClock_Config(void)
{
  RCC_OscInitTypeDef RCC_OscInitStruct = {0};
  RCC_ClkInitTypeDef RCC_ClkInitStruct = {0};

  /** Configure the main internal regulator output voltage
  */
  HAL_PWREx_ControlVoltageScaling(PWR_REGULATOR_VOLTAGE_SCALE1_BOOST);

  /** Initializes the RCC Oscillators according to the specified parameters
  * in the RCC_OscInitTypeDef structure.
  */
  RCC_OscInitStruct.OscillatorType = RCC_OSCILLATORTYPE_HSE;
  RCC_OscInitStruct.HSEState = RCC_HSE_ON;
  RCC_OscInitStruct.PLL.PLLState = RCC_PLL_ON;
  RCC_OscInitStruct.PLL.PLLSource = RCC_PLLSOURCE_HSE;
  RCC_OscInitStruct.PLL.PLLM = RCC_PLLM_DIV6;
  RCC_OscInitStruct.PLL.PLLN = 85;
  RCC_OscInitStruct.PLL.PLLP = RCC_PLLP_DIV8;
  RCC_OscInitStruct.PLL.PLLQ = RCC_PLLQ_DIV2;
  RCC_OscInitStruct.PLL.PLLR = RCC_PLLR_DIV2;
  if (HAL_RCC_OscConfig(&RCC_OscInitStruct) != HAL_OK)
  {
    Error_Handler();
  }

  /** Initializes the CPU, AHB and APB buses clocks
  */
  RCC_ClkInitStruct.ClockType = RCC_CLOCKTYPE_HCLK|RCC_CLOCKTYPE_SYSCLK
                              |RCC_CLOCKTYPE_PCLK1|RCC_CLOCKTYPE_PCLK2;
  RCC_ClkInitStruct.SYSCLKSource = RCC_SYSCLKSOURCE_PLLCLK;
  RCC_ClkInitStruct.AHBCLKDivider = RCC_SYSCLK_DIV1;
  RCC_ClkInitStruct.APB1CLKDivider = RCC_HCLK_DIV1;
  RCC_ClkInitStruct.APB2CLKDivider = RCC_HCLK_DIV1;

  if (HAL_RCC_ClockConfig(&RCC_ClkInitStruct, FLASH_LATENCY_4) != HAL_OK)
  {
    Error_Handler();
  }

  /** Enables the Clock Security System
  */
  HAL_RCC_EnableCSS();
}

/**
  * @brief NVIC Configuration.
  * @retval None
  */
static void MX_NVIC_Init(void)
{
  /* USART2_IRQn interrupt configuration */
  HAL_NVIC_SetPriority(USART2_IRQn, 3, 1);
  HAL_NVIC_EnableIRQ(USART2_IRQn);
  /* DMA1_Channel1_IRQn interrupt configuration */
  HAL_NVIC_SetPriority(DMA1_Channel1_IRQn, 3, 0);
  HAL_NVIC_EnableIRQ(DMA1_Channel1_IRQn);
  /* TIM1_BRK_TIM15_IRQn interrupt configuration */
  HAL_NVIC_SetPriority(TIM1_BRK_TIM15_IRQn, 4, 1);
  HAL_NVIC_EnableIRQ(TIM1_BRK_TIM15_IRQn);
  /* TIM1_UP_TIM16_IRQn interrupt configuration */
  HAL_NVIC_SetPriority(TIM1_UP_TIM16_IRQn, 2, 0);
  HAL_NVIC_EnableIRQ(TIM1_UP_TIM16_IRQn);
  /* ADC1_2_IRQn interrupt configuration */
  HAL_NVIC_SetPriority(ADC1_2_IRQn, 0, 0);
  HAL_NVIC_EnableIRQ(ADC1_2_IRQn);
  /* EXTI15_10_IRQn interrupt configuration */
  HAL_NVIC_SetPriority(EXTI15_10_IRQn, 3, 0);
  HAL_NVIC_EnableIRQ(EXTI15_10_IRQn);
}

static void MX_ADC1_Init(void)
{

  ADC_MultiModeTypeDef multimode = {0};
  ADC_InjectionConfTypeDef sConfigInjected = {0};
  ADC_ChannelConfTypeDef sConfig = {0};

  /** Common config
  */
  hadc1.Instance = ADC1;
  hadc1.Init.ClockPrescaler = ADC_CLOCK_ASYNC_DIV1;
  hadc1.Init.Resolution = ADC_RESOLUTION_12B;
  hadc1.Init.DataAlign = ADC_DATAALIGN_LEFT;
  hadc1.Init.GainCompensation = 0;
  hadc1.Init.ScanConvMode = ADC_SCAN_ENABLE;
  hadc1.Init.EOCSelection = ADC_EOC_SINGLE_CONV;
  hadc1.Init.LowPowerAutoWait = DISABLE;
  hadc1.Init.ContinuousConvMode = DISABLE;
  hadc1.Init.NbrOfConversion = 1;
  hadc1.Init.DiscontinuousConvMode = DISABLE;
  hadc1.Init.ExternalTrigConv = ADC_SOFTWARE_START;
  hadc1.Init.ExternalTrigConvEdge = ADC_EXTERNALTRIGCONVEDGE_NONE;
  hadc1.Init.DMAContinuousRequests = DISABLE;
  hadc1.Init.Overrun = ADC_OVR_DATA_PRESERVED;
  hadc1.Init.OversamplingMode = DISABLE;
  if (HAL_ADC_Init(&hadc1) != HAL_OK)
  {
    Error_Handler();
  }

  /** Configure the ADC multi-mode
  */
  multimode.Mode = ADC_MODE_INDEPENDENT;
  if (HAL_ADCEx_MultiModeConfigChannel(&hadc1, &multimode) != HAL_OK)
  {
    Error_Handler();
  }

  /** Configure Injected Channel
  */
  sConfigInjected.InjectedChannel = ADC_CHANNEL_1;
  sConfigInjected.InjectedRank = ADC_INJECTED_RANK_1;
  sConfigInjected.InjectedSamplingTime = ADC_SAMPLETIME_6CYCLES_5;
  sConfigInjected.InjectedSingleDiff = ADC_SINGLE_ENDED;
  sConfigInjected.InjectedOffsetNumber = ADC_OFFSET_NONE;
  sConfigInjected.InjectedOffset = 0;
  sConfigInjected.InjectedNbrOfConversion = 2;
  sConfigInjected.InjectedDiscontinuousConvMode = DISABLE;
  sConfigInjected.AutoInjectedConv = DISABLE;
  sConfigInjected.QueueInjectedContext = DISABLE;
  sConfigInjected.ExternalTrigInjecConv = ADC_EXTERNALTRIGINJEC_T1_TRGO;
  sConfigInjected.ExternalTrigInjecConvEdge = ADC_EXTERNALTRIGINJECCONV_EDGE_RISING;
  sConfigInjected.InjecOversamplingMode = DISABLE;
  if (HAL_ADCEx_InjectedConfigChannel(&hadc1, &sConfigInjected) != HAL_OK)
  {
    Error_Handler();
  }

  /** Configure Injected Channel
  */
  sConfigInjected.InjectedChannel = ADC_CHANNEL_7;
  sConfigInjected.InjectedRank = ADC_INJECTED_RANK_2;
  if (HAL_ADCEx_InjectedConfigChannel(&hadc1, &sConfigInjected) != HAL_OK)
  {
    Error_Handler();
  }

  /** Configure Regular Channel
  */
  sConfig.Channel = ADC_CHANNEL_2;
  sConfig.Rank = ADC_REGULAR_RANK_1;
  sConfig.SamplingTime = ADC_SAMPLETIME_47CYCLES_5;
  sConfig.SingleDiff = ADC_SINGLE_ENDED;
  sConfig.OffsetNumber = ADC_OFFSET_NONE;
  sConfig.Offset = 0;
  if (HAL_ADC_ConfigChannel(&hadc1, &sConfig) != HAL_OK)
  {
    Error_Handler();
  }

}

static void MX_ADC2_Init(void)
{

  ADC_InjectionConfTypeDef sConfigInjected = {0};

  /** Common config
  */
  hadc2.Instance = ADC2;
  hadc2.Init.ClockPrescaler = ADC_CLOCK_ASYNC_DIV1;
  hadc2.Init.Resolution = ADC_RESOLUTION_12B;
  hadc2.Init.DataAlign = ADC_DATAALIGN_LEFT;
  hadc2.Init.GainCompensation = 0;
  hadc2.Init.ScanConvMode = ADC_SCAN_ENABLE;
  hadc2.Init.EOCSelection = ADC_EOC_SINGLE_CONV;
  hadc2.Init.LowPowerAutoWait = DISABLE;
  hadc2.Init.ContinuousConvMode = DISABLE;
  hadc2.Init.NbrOfConversion = 1;
  hadc2.Init.DiscontinuousConvMode = DISABLE;
  hadc2.Init.DMAContinuousRequests = DISABLE;
  hadc2.Init.Overrun = ADC_OVR_DATA_PRESERVED;
  hadc2.Init.OversamplingMode = DISABLE;
  if (HAL_ADC_Init(&hadc2) != HAL_OK)
  {
    Error_Handler();
  }

  /** Configure Injected Channel
  */
  sConfigInjected.InjectedChannel = ADC_CHANNEL_7;
  sConfigInjected.InjectedRank = ADC_INJECTED_RANK_1;
  sConfigInjected.InjectedSamplingTime = ADC_SAMPLETIME_6CYCLES_5;
  sConfigInjected.InjectedSingleDiff = ADC_SINGLE_ENDED;
  sConfigInjected.InjectedOffsetNumber = ADC_OFFSET_NONE;
  sConfigInjected.InjectedOffset = 0;
  sConfigInjected.InjectedNbrOfConversion = 2;
  sConfigInjected.InjectedDiscontinuousConvMode = DISABLE;
  sConfigInjected.AutoInjectedConv = DISABLE;
  sConfigInjected.QueueInjectedContext = DISABLE;
  sConfigInjected.ExternalTrigInjecConv = ADC_EXTERNALTRIGINJEC_T1_TRGO;
  sConfigInjected.ExternalTrigInjecConvEdge = ADC_EXTERNALTRIGINJECCONV_EDGE_RISING;
  sConfigInjected.InjecOversamplingMode = DISABLE;
  if (HAL_ADCEx_InjectedConfigChannel(&hadc2, &sConfigInjected) != HAL_OK)
  {
    Error_Handler();
  }

  /** Configure Injected Channel
  */
  sConfigInjected.InjectedChannel = ADC_CHANNEL_6;
  sConfigInjected.InjectedRank = ADC_INJECTED_RANK_2;
  if (HAL_ADCEx_InjectedConfigChannel(&hadc2, &sConfigInjected) != HAL_OK)
  {
    Error_Handler();
  }

}

static void MX_CORDIC_Init(void)
{

  hcordic.Instance = CORDIC;
  if (HAL_CORDIC_Init(&hcordic) != HAL_OK)
  {
    Error_Handler();
  }

}

static void MX_SPI1_Init(void)
{

  /* SPI1 parameter configuration*/
  hspi1.Instance = SPI1;
  hspi1.Init.Mode = SPI_MODE_MASTER;
  hspi1.Init.Direction = SPI_DIRECTION_2LINES;
  hspi1.Init.DataSize = SPI_DATASIZE_8BIT;
  hspi1.Init.CLKPolarity = SPI_POLARITY_LOW;
  hspi1.Init.CLKPhase = SPI_PHASE_1EDGE;
  hspi1.Init.NSS = SPI_NSS_SOFT;
  hspi1.Init.BaudRatePrescaler = SPI_BAUDRATEPRESCALER_64;
  hspi1.Init.FirstBit = SPI_FIRSTBIT_MSB;
  hspi1.Init.TIMode = SPI_TIMODE_DISABLE;
  hspi1.Init.CRCCalculation = SPI_CRCCALCULATION_DISABLE;
  hspi1.Init.CRCPolynomial = 7;
  hspi1.Init.CRCLength = SPI_CRC_LENGTH_DATASIZE;
  hspi1.Init.NSSPMode = SPI_NSS_PULSE_DISABLE;
  if (HAL_SPI_Init(&hspi1) != HAL_OK)
  {
    Error_Handler();
  }

}

static void MX_SPI3_Init(void)
{

  /* SPI3 parameter configuration*/
  hspi3.Instance = SPI3;
  hspi3.Init.Mode = SPI_MODE_MASTER;
  hspi3.Init.Direction = SPI_DIRECTION_2LINES;
  hspi3.Init.DataSize = SPI_DATASIZE_8BIT;
  hspi3.Init.CLKPolarity = SPI_POLARITY_LOW;
  hspi3.Init.CLKPhase = SPI_PHASE_1EDGE;
  hspi3.Init.NSS = SPI_NSS_SOFT;
  hspi3.Init.BaudRatePrescaler = SPI_BAUDRATEPRESCALER_64;
  hspi3.Init.FirstBit = SPI_FIRSTBIT_MSB;
  hspi3.Init.TIMode = SPI_TIMODE_DISABLE;
  hspi3.Init.CRCCalculation = SPI_CRCCALCULATION_DISABLE;
  hspi3.Init.CRCPolynomial = 7;
  hspi3.Init.CRCLength = SPI_CRC_LENGTH_DATASIZE;
  hspi3.Init.NSSPMode = SPI_NSS_PULSE_DISABLE;
  if (HAL_SPI_Init(&hspi3) != HAL_OK)
  {
    Error_Handler();
  }

}

static void MX_TIM1_Init(void)
{

  TIM_MasterConfigTypeDef sMasterConfig = {0};
  TIMEx_BreakInputConfigTypeDef sBreakInputConfig = {0};
  TIM_OC_InitTypeDef sConfigOC = {0};
  TIM_BreakDeadTimeConfigTypeDef sBreakDeadTimeConfig = {0};

  htim1.Instance = TIM1;
  htim1.Init.Prescaler = ((TIM_CLOCK_DIVIDER) - 1);
  htim1.Init.CounterMode = TIM_COUNTERMODE_CENTERALIGNED1;
  htim1.Init.Period = ((PWM_PERIOD_CYCLES) / 2);
  htim1.Init.ClockDivision = TIM_CLOCKDIVISION_DIV2;
  htim1.Init.RepetitionCounter = (REP_COUNTER);
  htim1.Init.AutoReloadPreload = TIM_AUTORELOAD_PRELOAD_DISABLE;
  if (HAL_TIM_PWM_Init(&htim1) != HAL_OK)
  {
    Error_Handler();
  }
  sMasterConfig.MasterOutputTrigger = TIM_TRGO_OC4REF;
  sMasterConfig.MasterOutputTrigger2 = TIM_TRGO2_RESET;
  sMasterConfig.MasterSlaveMode = TIM_MASTERSLAVEMODE_DISABLE;
  if (HAL_TIMEx_MasterConfigSynchronization(&htim1, &sMasterConfig) != HAL_OK)
  {
    Error_Handler();
  }
  sBreakInputConfig.Source = TIM_BREAKINPUTSOURCE_BKIN;
  sBreakInputConfig.Enable = TIM_BREAKINPUTSOURCE_ENABLE;
  sBreakInputConfig.Polarity = TIM_BREAKINPUTSOURCE_POLARITY_LOW;
  if (HAL_TIMEx_ConfigBreakInput(&htim1, TIM_BREAKINPUT_BRK, &sBreakInputConfig) != HAL_OK)
  {
    Error_Handler();
  }
  sConfigOC.OCMode = TIM_OCMODE_PWM1;
  sConfigOC.Pulse = ((PWM_PERIOD_CYCLES) / 4);
  sConfigOC.OCPolarity = TIM_OCPOLARITY_HIGH;
  sConfigOC.OCNPolarity = TIM_OCNPOLARITY_LOW;
  sConfigOC.OCFastMode = TIM_OCFAST_DISABLE;
  sConfigOC.OCIdleState = TIM_OCIDLESTATE_RESET;
  sConfigOC.OCNIdleState = TIM_OCNIDLESTATE_SET;
  if (HAL_TIM_PWM_ConfigChannel(&htim1, &sConfigOC, TIM_CHANNEL_1) != HAL_OK)
  {
    Error_Handler();
  }
  if (HAL_TIM_PWM_ConfigChannel(&htim1, &sConfigOC, TIM_CHANNEL_2) != HAL_OK)
  {
    Error_Handler();
  }
  if (HAL_TIM_PWM_ConfigChannel(&htim1, &sConfigOC, TIM_CHANNEL_3) != HAL_OK)
  {
    Error_Handler();
  }
  sConfigOC.OCMode = TIM_OCMODE_PWM2;
  sConfigOC.Pulse = (((PWM_PERIOD_CYCLES) / 2) - (HTMIN));
  sConfigOC.OCNPolarity = TIM_OCNPOLARITY_HIGH;
  sConfigOC.OCNIdleState = TIM_OCNIDLESTATE_RESET;
  if (HAL_TIM_PWM_ConfigChannel(&htim1, &sConfigOC, TIM_CHANNEL_4) != HAL_OK)
  {
    Error_Handler();
  }
  sBreakDeadTimeConfig.OffStateRunMode = TIM_OSSR_ENABLE;
  sBreakDeadTimeConfig.OffStateIDLEMode = TIM_OSSI_ENABLE;
  sBreakDeadTimeConfig.LockLevel = TIM_LOCKLEVEL_OFF;
  sBreakDeadTimeConfig.DeadTime = ((DEAD_TIME_COUNTS) / 2);
  sBreakDeadTimeConfig.BreakState = TIM_BREAK_ENABLE;
  sBreakDeadTimeConfig.BreakPolarity = TIM_BREAKPOLARITY_HIGH;
  sBreakDeadTimeConfig.BreakFilter = 4;
  sBreakDeadTimeConfig.BreakAFMode = TIM_BREAK_AFMODE_INPUT;
  sBreakDeadTimeConfig.Break2State = TIM_BREAK2_DISABLE;
  sBreakDeadTimeConfig.Break2Polarity = TIM_BREAK2POLARITY_HIGH;
  sBreakDeadTimeConfig.Break2Filter = 3;
  sBreakDeadTimeConfig.Break2AFMode = TIM_BREAK_AFMODE_INPUT;
  sBreakDeadTimeConfig.AutomaticOutput = TIM_AUTOMATICOUTPUT_DISABLE;
  if (HAL_TIMEx_ConfigBreakDeadTime(&htim1, &sBreakDeadTimeConfig) != HAL_OK)
  {
    Error_Handler();
  }
  HAL_TIM_MspPostInit(&htim1);

}

static void MX_TIM2_Init(void)
{

  TIM_Encoder_InitTypeDef sConfig = {0};
  TIM_MasterConfigTypeDef sMasterConfig = {0};

  htim2.Instance = TIM2;
  htim2.Init.Prescaler = 0;
  htim2.Init.CounterMode = TIM_COUNTERMODE_UP;
  htim2.Init.Period = 4294967295;
  htim2.Init.ClockDivision = TIM_CLOCKDIVISION_DIV1;
  htim2.Init.AutoReloadPreload = TIM_AUTORELOAD_PRELOAD_DISABLE;
  sConfig.EncoderMode = TIM_ENCODERMODE_TI1;
  sConfig.IC1Polarity = TIM_ICPOLARITY_RISING;
  sConfig.IC1Selection = TIM_ICSELECTION_DIRECTTI;
  sConfig.IC1Prescaler = TIM_ICPSC_DIV1;
  sConfig.IC1Filter = 0;
  sConfig.IC2Polarity = TIM_ICPOLARITY_RISING;
  sConfig.IC2Selection = TIM_ICSELECTION_DIRECTTI;
  sConfig.IC2Prescaler = TIM_ICPSC_DIV1;
  sConfig.IC2Filter = 0;
  if (HAL_TIM_Encoder_Init(&htim2, &sConfig) != HAL_OK)
  {
    Error_Handler();
  }
  sMasterConfig.MasterOutputTrigger = TIM_TRGO_RESET;
  sMasterConfig.MasterSlaveMode = TIM_MASTERSLAVEMODE_DISABLE;
  if (HAL_TIMEx_MasterConfigSynchronization(&htim2, &sMasterConfig) != HAL_OK)
  {
    Error_Handler();
  }

}

static void MX_USART2_UART_Init(void)
{

  huart2.Instance = USART2;
  huart2.Init.BaudRate = 1843200;
  huart2.Init.WordLength = UART_WORDLENGTH_8B;
  huart2.Init.StopBits = UART_STOPBITS_1;
  huart2.Init.Parity = UART_PARITY_NONE;
  huart2.Init.Mode = UART_MODE_TX_RX;
  huart2.Init.HwFlowCtl = UART_HWCONTROL_NONE;
  huart2.Init.OverSampling = UART_OVERSAMPLING_16;
  huart2.Init.OneBitSampling = UART_ONE_BIT_SAMPLE_DISABLE;
  huart2.Init.ClockPrescaler = UART_PRESCALER_DIV1;
  huart2.AdvancedInit.AdvFeatureInit = UART_ADVFEATURE_NO_INIT;
  if (HAL_UART_Init(&huart2) != HAL_OK)
  {
    Error_Handler();
  }
  if (HAL_UARTEx_SetTxFifoThreshold(&huart2, UART_TXFIFO_THRESHOLD_1_8) != HAL_OK)
  {
    Error_Handler();
  }
  if (HAL_UARTEx_SetRxFifoThreshold(&huart2, UART_RXFIFO_THRESHOLD_1_8) != HAL_OK)
  {
    Error_Handler();
  }
  if (HAL_UARTEx_DisableFifoMode(&huart2) != HAL_OK)
  {
    Error_Handler();
  }

}

static void MX_DMA_Init(void)
{

  /* DMA controller clock enable */
  __HAL_RCC_DMAMUX1_CLK_ENABLE();
  __HAL_RCC_DMA1_CLK_ENABLE();

}

static void MX_GPIO_Init(void)
{
  GPIO_InitTypeDef GPIO_InitStruct = {0};

  /* GPIO Ports Clock Enable */
  __HAL_RCC_GPIOC_CLK_ENABLE();
  __HAL_RCC_GPIOF_CLK_ENABLE();
  __HAL_RCC_GPIOA_CLK_ENABLE();
  __HAL_RCC_GPIOB_CLK_ENABLE();

  /*Configure GPIO pin Output Level */
  HAL_GPIO_WritePin(GPIOC, ECAT_CS_Pin|ENCODER_CLK_Pin, GPIO_PIN_RESET);

  /*Configure GPIO pin Output Level */
  HAL_GPIO_WritePin(ECAT_RST_GPIO_Port, ECAT_RST_Pin, GPIO_PIN_RESET);

  /*Configure GPIO pin : Start_Stop_Pin */
  GPIO_InitStruct.Pin = Start_Stop_Pin;
  GPIO_InitStruct.Mode = GPIO_MODE_IT_FALLING;
  GPIO_InitStruct.Pull = GPIO_NOPULL;
  HAL_GPIO_Init(Start_Stop_GPIO_Port, &GPIO_InitStruct);

  /*Configure GPIO pin : ECAT_CS_Pin */
  GPIO_InitStruct.Pin = ECAT_CS_Pin;
  GPIO_InitStruct.Mode = GPIO_MODE_OUTPUT_PP;
  GPIO_InitStruct.Pull = GPIO_PULLUP;
  GPIO_InitStruct.Speed = GPIO_SPEED_FREQ_VERY_HIGH;
  HAL_GPIO_Init(ECAT_CS_GPIO_Port, &GPIO_InitStruct);

  /*Configure GPIO pin : ENCODER_CLK_Pin */
  GPIO_InitStruct.Pin = ENCODER_CLK_Pin;
  GPIO_InitStruct.Mode = GPIO_MODE_OUTPUT_PP;
  GPIO_InitStruct.Pull = GPIO_NOPULL;
  GPIO_InitStruct.Speed = GPIO_SPEED_FREQ_VERY_HIGH;
  HAL_GPIO_Init(ENCODER_CLK_GPIO_Port, &GPIO_InitStruct);

  /*Configure GPIO pin : ENCODER_DATA_Pin */
  GPIO_InitStruct.Pin = ENCODER_DATA_Pin;
  GPIO_InitStruct.Mode = GPIO_MODE_INPUT;
  GPIO_InitStruct.Pull = GPIO_NOPULL;
  HAL_GPIO_Init(ENCODER_DATA_GPIO_Port, &GPIO_InitStruct);

  /*Configure GPIO pin : ECAT_RST_Pin */
  GPIO_InitStruct.Pin = ECAT_RST_Pin;
  GPIO_InitStruct.Mode = GPIO_MODE_OUTPUT_PP;
  GPIO_InitStruct.Pull = GPIO_NOPULL;
  GPIO_InitStruct.Speed = GPIO_SPEED_FREQ_VERY_HIGH;
  HAL_GPIO_Init(ECAT_RST_GPIO_Port, &GPIO_InitStruct);

}

/* USER CODE BEGIN 4 */

/* Forward DMA-complete and error events to the BiSS encoder driver. */
void HAL_SPI_TxRxCpltCallback(SPI_HandleTypeDef *hspi)
{
  BISS_DmaCpltCallback(hspi);
}

void HAL_SPI_ErrorCallback(SPI_HandleTypeDef *hspi)
{
  BISS_DmaErrorCallback(hspi);
}

/* USER CODE END 4 */

void Error_Handler(void)
{
  __disable_irq();
  while (1)
  {
  }
}
